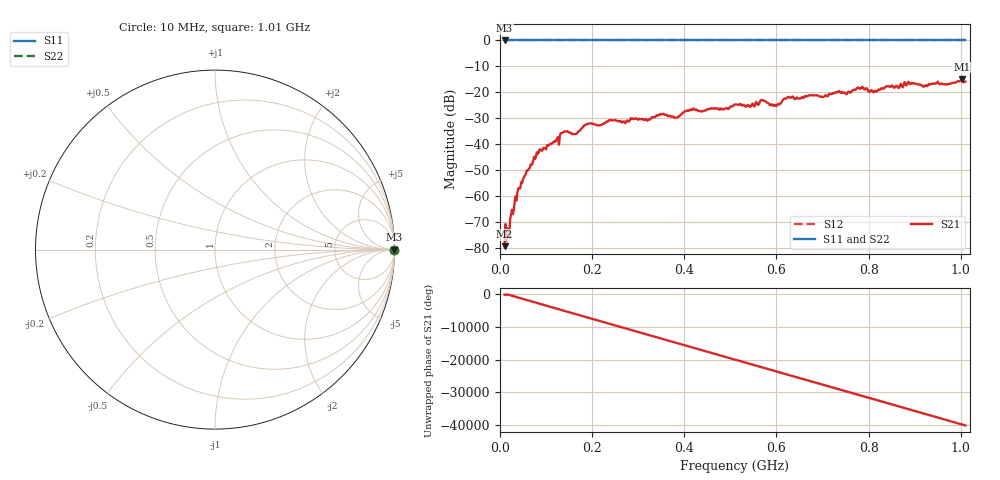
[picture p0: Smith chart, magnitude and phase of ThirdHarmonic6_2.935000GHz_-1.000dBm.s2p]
! 8/17/2025 8:12:35 AM
! C:\ANRITSUVNA\TEMP\TEMP.S2P
! CHANNEL.1
! TR.MEASUREMENT
! RAW.DATA
! RF.CORRECTION.OFF
! AVERAGING.OFF
! IF.BANDWIDTH: 5KHZ
! SWEEPTYPE:  FREQ.SWEEP(Linear)
! Reference Plane Port Info
! PORT:  PORT1  PORT2
! DISTANCE:  0  m  0  m
! TIME:  0  s  0  s
! PHASE.OFFSET:  0  deg.  0  deg.
! LOSS:  0  dB  0  dB
! REF.LOSS:  0  dB  0  dB
! REF.FREQ:  0  Hz  0  Hz
! Power Info
! POWER:  -20  dBm  -20  dBm
! EFF.POWER:  -20  dBm  -20  dBm
! SOURCE.ATTEN:  0  dB  0  dB
! TEST.ATTEN:  0  dB  0  dB
# GHZ S RI R 50.0
! FREQ.GHZ  S11RE  S11IM  S21RE  S21IM  S12RE  S12IM  S22RE  S22IM
!; PortSelection: Port_12
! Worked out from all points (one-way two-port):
!   501 points, 10 MHz to 1.01 GHz, reference 50 ohm
!   highest |S21| = -14.85 dB at 1.002 GHz (marker M1); lowest = -79.2 dB at 10 MHz (marker M2)
!   lowest |S11| = 0.0 dB at 10 MHz (marker M3)
!   |S11| at or under -10 dB: nowhere
!   |S22| runs from 0.0 to 0.0 dB; largest |S21 - S12| = 1.2
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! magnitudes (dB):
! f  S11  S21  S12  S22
! 10 MHz  0.0  -79.2  0.0  0.0
! 18 MHz  0.0  -75.4  0.0  0.0
! 26 MHz  0.0  -65.2  0.0  0.0
! 42 MHz  0.0  -56.9  0.0  0.0
! 84 MHz  0.0  -43.2  0.0  0.0
! 124 MHz  0.0  -37.6  0.0  0.0
! 136 MHz  0.0  -35.6  0.0  0.0
! 162 MHz  0.0  -36.0  0.0  0.0
! 178 MHz  0.0  -33.7  0.0  0.0
! 344 MHz  0.0  -28.9  0.0  0.0
! 382 MHz  0.0  -29.6  0.0  0.0
! 416 MHz  0.0  -26.8  0.0  0.0
! 510 MHz  0.0  -24.6  0.0  0.0
! 570 MHz  0.0  -23.0  0.0  0.0
! 596 MHz  0.0  -24.7  0.0  0.0
! 624 MHz  0.0  -21.9  0.0  0.0
! 678 MHz  0.0  -21.1  0.0  0.0
! 784 MHz  0.0  -18.4  0.0  0.0
! 814 MHz  0.0  -19.3  0.0  0.0
! 844 MHz  0.0  -17.6  0.0  0.0
! 1.002 GHz  0.0  -14.8  0.0  0.0
! 1.01 GHz  0.0  -15.9  0.0  0.0
